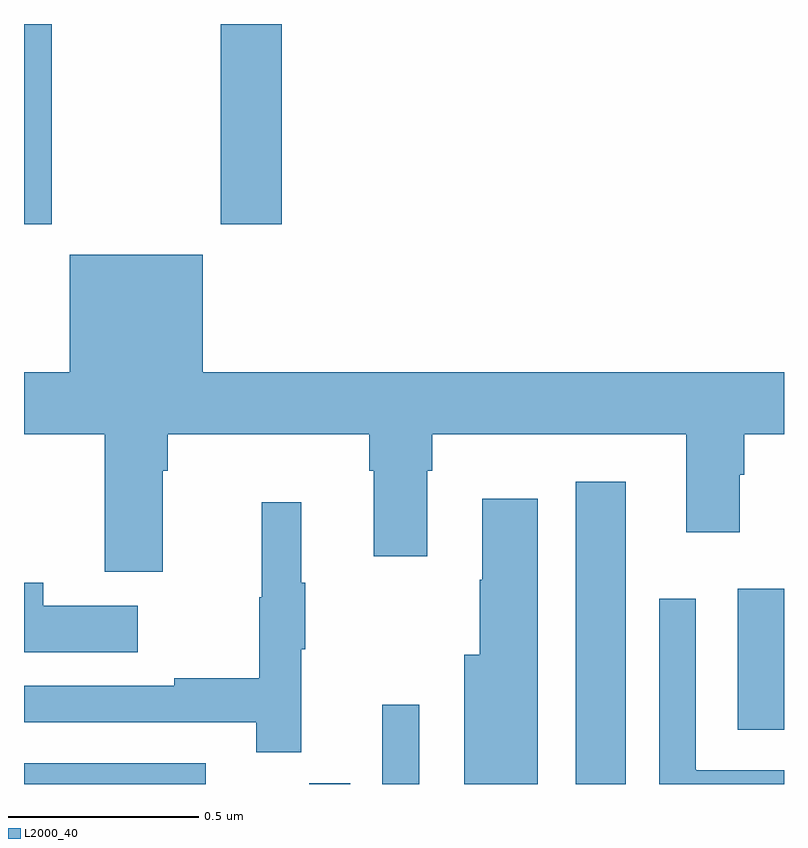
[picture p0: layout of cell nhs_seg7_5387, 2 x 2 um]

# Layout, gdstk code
import gdstk
lib = gdstk.Library(unit=1e-6, precision=1e-09)
def R(c, l, rs):  # rectangles x0, y0, x1, y1
    for r in rs: c.add(gdstk.rectangle(r[:2], r[2:], *l))
def P(c, l, *ps):  # polygons
    for p in ps: c.add(gdstk.Polygon(p, *l))
L2000_40 = (2000, 40)

nhs_seg7_5387 = lib.new_cell('nhs_seg7_5387')
R(nhs_seg7_5387, L2000_40, [(185,1029,185.478,1029.054), (185.75,1029,185.858,1029.002), (185.943,1029,186.04,1029.208), (186.452,1029,186.583,1029.796), (186.878,1029.143,187,1029.514), (185,1030.473,185.073,1031), (185.518,1030.473,185.678,1031)])
P(nhs_seg7_5387, L2000_40, [(185.47,1030.393),(185.12,1030.393),(185.12,1030.084),(185,1030.084),(185,1029.92),(185.213,1029.92),(185.213,1029.558),(185.365,1029.558),(185.365,1029.824),(185.378,1029.824),(185.378,1029.92),(185.909,1029.92),(185.909,1029.824),(185.921,1029.824),(185.921,1029.6),(186.061,1029.6),(186.061,1029.824),(186.074,1029.824),(186.074,1029.92),(186.743,1029.92),(186.743,1029.663),(186.883,1029.663),(186.883,1029.814),(186.896,1029.814),(186.896,1029.92),(187,1029.92),(187,1030.084),(185.47,1030.084)],
  [(186.352,1029.751),(186.206,1029.751),(186.206,1029.537),(186.199,1029.537),(186.199,1029.34),(186.158,1029.34),(186.158,1029),(186.352,1029)],
  [(185.729,1029.355),(185.74,1029.355),(185.74,1029.529),(185.729,1029.529),(185.729,1029.742),(185.626,1029.742),(185.626,1029.492),(185.619,1029.492),(185.619,1029.278),(185.395,1029.278),(185.395,1029.258),(185,1029.258),(185,1029.162),(185.611,1029.162),(185.611,1029.084),(185.729,1029.084)],
  [(185.299,1029.469),(185.051,1029.469),(185.051,1029.529),(185,1029.529),(185,1029.347),(185.299,1029.347)],
  [(187,1029.036),(186.769,1029.036),(186.769,1029.037),(186.768,1029.037),(186.768,1029.487),(186.672,1029.487),(186.672,1029),(187,1029)])

lib.write_gds('nhs_seg7_5387.gds')
